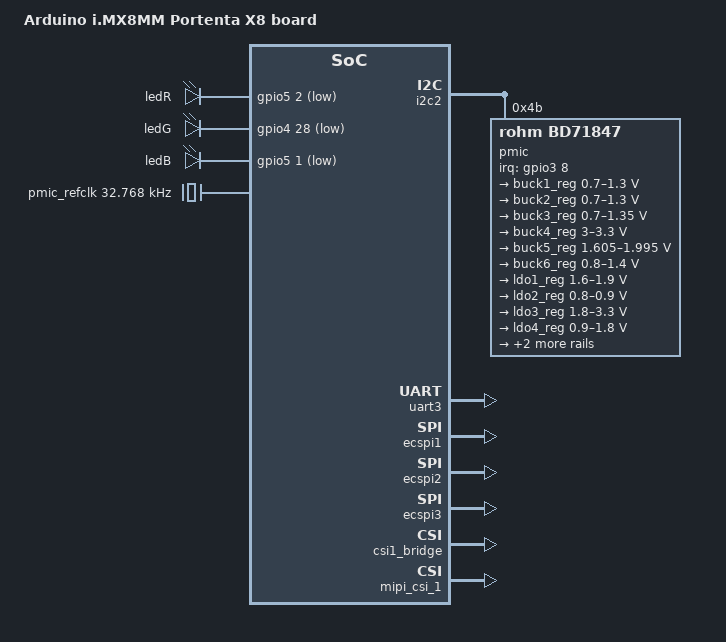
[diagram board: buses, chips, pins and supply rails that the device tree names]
/**
 * Portenta-X8 main device tree file
 * Arduino 2021
 */

/dts-v1/;

#include "arduino_portenta-mx8mm.dtsi"

/ {
	model = "Arduino i.MX8MM Portenta X8 board";

	chosen {
		bootargs = "console=ttymxc2,115200 earlycon=ec_imx6q,0x30880000,115200";
		stdout-path = &uart3;
	};

	leds {
		compatible = "gpio-leds";
		pinctrl-names = "default";
		pinctrl-0 = <&pinctrl_gpio_leds>;

		ledR {
			label = "ledR";
			gpios = <&gpio5 2 GPIO_ACTIVE_LOW>;
			default-state = "off";
		};

		ledG {
			label = "ledG";
			gpios = <&gpio4 28 GPIO_ACTIVE_LOW>;
			default-state = "off";
		};

		ledB {
			label = "ledB";
			gpios = <&gpio5 1 GPIO_ACTIVE_LOW>;
			linux,default-trigger = "heartbeat";
			default-state = "off";
		};
	};

	/* Y2 SIT1532AI */
	pmic_refclk: pmic-refclk {
		compatible = "fixed-clock";
		#clock-cells = <0>;
		clock-frequency = <32768>;
	};
};

&i2c2 {
	pmic:pmic@4b {
		compatible = "rohm,bd71847";
		reg = <0x4b>;
		pinctrl-names = "default";
		pinctrl-0 = <&pinctrl_pmic>;
		interrupt-parent = <&gpio3>;
		interrupts = <8 IRQ_TYPE_LEVEL_LOW>;
		rohm,reset-snvs-powered;
		rohm,short-press-ms = <10>;
		rohm,long-press-ms = <3000>;
		rohm,button-keycode = <KEY_HOME>;
		clocks = <&pmic_refclk>;

		regulators {
			buck1_reg: BUCK1 {
				regulator-name = "BUCK1";
				regulator-min-microvolt = <700000>;
				regulator-max-microvolt = <1300000>;
				regulator-boot-on;
				regulator-always-on;
				regulator-ramp-delay = <1250>;
			};

			buck2_reg: BUCK2 {
				regulator-name = "BUCK2";
				regulator-min-microvolt = <700000>;
				regulator-max-microvolt = <1300000>;
				regulator-boot-on;
				regulator-always-on;
				regulator-ramp-delay = <1250>;
				rohm,dvs-run-voltage = <1000000>;
				rohm,dvs-idle-voltage = <900000>;
			};

			buck3_reg: BUCK3 {
				// BUCK5 in datasheet
				regulator-name = "BUCK3";
				regulator-min-microvolt = <700000>;
				regulator-max-microvolt = <1350000>;
				regulator-boot-on;
				regulator-always-on;
			};

			buck4_reg: BUCK4 {
				// BUCK6 in datasheet
				regulator-name = "BUCK4";
				regulator-min-microvolt = <3000000>;
				regulator-max-microvolt = <3300000>;
				regulator-boot-on;
				regulator-always-on;
			};

			buck5_reg: BUCK5 {
				// BUCK7 in datasheet
				regulator-name = "BUCK5";
				regulator-min-microvolt = <1605000>;
				regulator-max-microvolt = <1995000>;
				regulator-boot-on;
				regulator-always-on;
			};

			buck6_reg: BUCK6 {
				// BUCK8 in datasheet
				regulator-name = "BUCK6";
				regulator-min-microvolt = <800000>;
				regulator-max-microvolt = <1400000>;
				regulator-boot-on;
				regulator-always-on;
			};

			ldo1_reg: LDO1 {
				regulator-name = "LDO1";
				regulator-min-microvolt = <1600000>;
				regulator-max-microvolt = <1900000>;
				regulator-boot-on;
				regulator-always-on;
			};

			ldo2_reg: LDO2 {
				regulator-name = "LDO2";
				regulator-min-microvolt = <800000>;
				regulator-max-microvolt = <900000>;
				regulator-boot-on;
				regulator-always-on;
			};

			ldo3_reg: LDO3 {
				regulator-name = "LDO3";
				regulator-min-microvolt = <1800000>;
				regulator-max-microvolt = <3300000>;
				regulator-boot-on;
				regulator-always-on;
			};

			ldo4_reg: LDO4 {
				regulator-name = "LDO4";
				regulator-min-microvolt = <900000>;
				regulator-max-microvolt = <1800000>;
				regulator-boot-on;
				regulator-always-on;
			};

			ldo5_reg: LDO5 {
				regulator-name = "LDO5";
				regulator-min-microvolt = <3000000>;
				regulator-max-microvolt = <3000000>;
				regulator-boot-on;
				regulator-always-on;
			};

			ldo6_reg: LDO6 {
				regulator-name = "LDO6";
				regulator-min-microvolt = <900000>;
				regulator-max-microvolt = <1800000>;
				regulator-boot-on;
				regulator-always-on;
			};
		};
	};

};

&uart3 { /* console */
	pinctrl-names = "default";
	pinctrl-0 = <&pinctrl_uart3>;
	status = "okay";
};

&iomuxc {
	imx8mm {
		pinctrl_gpio_leds: gpioledsgrp {
			fsl,pins = <
				MX8MM_IOMUXC_SAI3_MCLK_GPIO5_IO2		0x19
				MX8MM_IOMUXC_SAI3_RXFS_GPIO4_IO28		0x19
				MX8MM_IOMUXC_SAI3_TXD_GPIO5_IO1			0x19
			>;
		};

		pinctrl_pmic: pmicirq {
			fsl,pins = <
				MX8MM_IOMUXC_NAND_DATA02_GPIO3_IO8		0x151
			>;
		};

		/* NOTE: DCE mode not inverted */
		pinctrl_uart3: uart3grp {
			fsl,pins = <
				MX8MM_IOMUXC_UART3_RXD_UART3_DCE_RX		0x140
				MX8MM_IOMUXC_UART3_TXD_UART3_DCE_TX		0x140
			>;
		};

		pinctrl_ecspi1: ecspi1grp {
			fsl,pins = <
				MX8MM_IOMUXC_ECSPI1_SCLK_ECSPI1_SCLK		0x82
				MX8MM_IOMUXC_ECSPI1_MISO_ECSPI1_MISO		0x82
				MX8MM_IOMUXC_ECSPI1_MOSI_ECSPI1_MOSI		0x82
			>;
		};

		pinctrl_ecspi1_cs: ecspi1cs {
			fsl,pins = <
				MX8MM_IOMUXC_ECSPI1_SS0_GPIO5_IO9		0x40000
			>;
		};

		pinctrl_ecspi2: ecspi2grp {
			fsl,pins = <
				MX8MM_IOMUXC_ECSPI2_SCLK_ECSPI2_SCLK		0x82
				MX8MM_IOMUXC_ECSPI2_MOSI_ECSPI2_MOSI		0x82
				MX8MM_IOMUXC_ECSPI2_MISO_ECSPI2_MISO		0x82
			>;
		};

		pinctrl_ecspi2_cs: ecspi2cs {
			fsl,pins = <
				MX8MM_IOMUXC_ECSPI2_SS0_GPIO5_IO13		0x40000
			>;
		};

		pinctrl_ecspi3: ecspi3grp {
			fsl,pins = <
				MX8MM_IOMUXC_UART1_RXD_ECSPI3_SCLK		0x82
				MX8MM_IOMUXC_UART1_TXD_ECSPI3_MOSI		0x82
				MX8MM_IOMUXC_UART2_RXD_ECSPI3_MISO		0x82
			>;
		};

		pinctrl_ecspi3_cs: ecspi3cs {
			fsl,pins = <
				// MX8MM_IOMUXC_UART2_TXD_ECSPI3_SS0		0x40000
				MX8MM_IOMUXC_UART2_TXD_GPIO5_IO25		0x40000
			>;
		};
	};
};

&ecspi1 {
	pinctrl-names = "default";
	pinctrl-0 = <&pinctrl_ecspi1 &pinctrl_ecspi1_cs>;
	num-cs = <1>;
	cs-gpios = <&gpio5 9 GPIO_ACTIVE_LOW>;
	status = "okay";
};

&ecspi2 {
	pinctrl-names = "default";
	pinctrl-0 = <&pinctrl_ecspi2 &pinctrl_ecspi2_cs>;
	num-cs = <1>;
	cs-gpios = <&gpio5 13 GPIO_ACTIVE_LOW>;
	status = "okay";
};

&ecspi3 {
	pinctrl-names = "default";
	pinctrl-0 = <&pinctrl_ecspi3 &pinctrl_ecspi3_cs>;
	num-cs = <1>;
	cs-gpios = <&gpio5 25 GPIO_ACTIVE_LOW>;
	status = "okay";
};

&csi1_bridge {
	fsl,mipi-mode;
	status = "okay";
};

&mipi_csi_1 {
	#address-cells = <1>;
	#size-cells = <0>;
	status = "okay";
};
